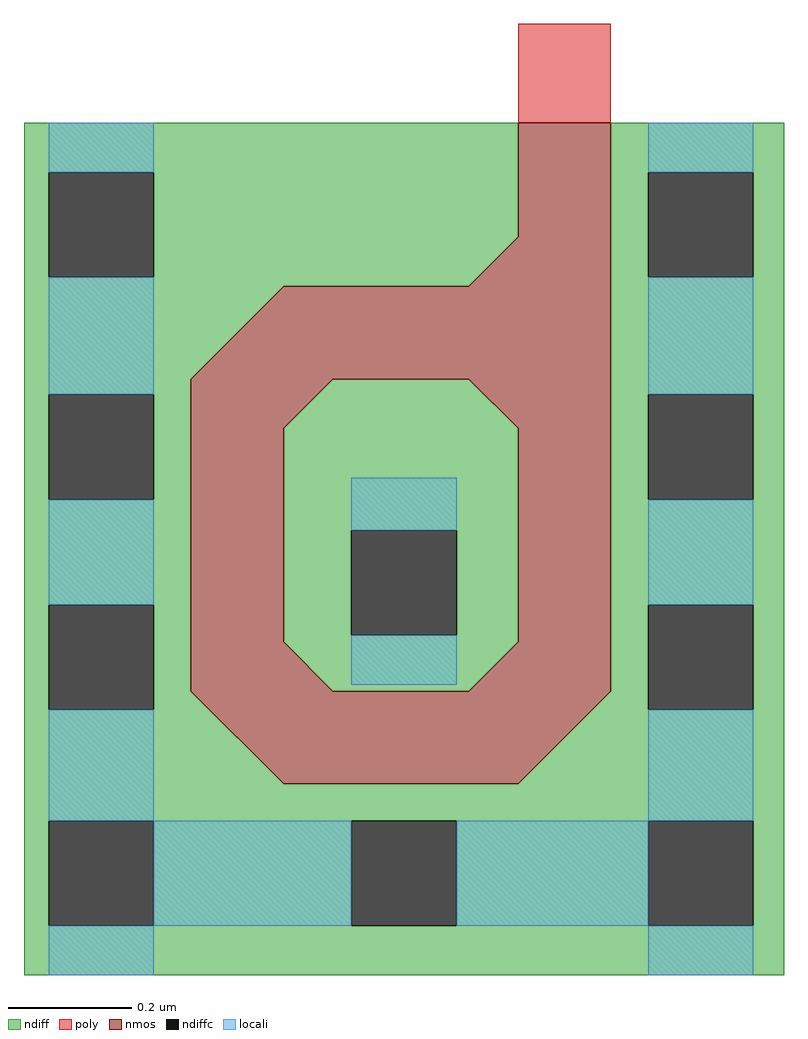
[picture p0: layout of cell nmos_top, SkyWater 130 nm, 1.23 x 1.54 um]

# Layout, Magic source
magic
tech sky130A
magscale 1 2
<< nmos >>
tri 144 223 160 239 se
rect 160 223 190 276
tri 54 193 84 223 se
rect 84 193 190 223
rect 54 92 84 193
tri 84 177 100 193 nw
tri 144 177 160 193 ne
tri 84 92 100 108 sw
tri 144 92 160 108 se
rect 160 92 190 193
tri 54 62 84 92 ne
rect 84 62 160 92
tri 160 62 190 92 nw
<< ndiff >>
rect 0 260 160 276
rect 0 226 8 260
rect 42 239 160 260
rect 42 226 144 239
rect 0 223 144 226
tri 144 223 160 239 nw
rect 190 260 246 276
rect 190 226 202 260
rect 236 226 246 260
rect 0 188 54 223
tri 54 193 84 223 nw
rect 0 154 8 188
rect 42 154 54 188
rect 0 120 54 154
rect 0 86 8 120
rect 42 86 54 120
tri 84 177 100 193 se
rect 100 177 144 193
tri 144 177 160 193 sw
rect 84 144 160 177
rect 84 110 106 144
rect 140 110 160 144
rect 84 108 160 110
tri 84 92 100 108 ne
rect 100 92 144 108
tri 144 92 160 108 nw
rect 190 188 246 226
rect 190 154 202 188
rect 236 154 246 188
rect 190 120 246 154
rect 0 62 54 86
tri 54 62 84 92 sw
tri 160 62 190 92 se
rect 190 86 202 120
rect 236 86 246 120
rect 190 62 246 86
rect 0 50 246 62
rect 0 16 8 50
rect 42 16 106 50
rect 140 16 202 50
rect 236 16 246 50
rect 0 0 246 16
<< ndiffc >>
rect 8 226 42 260
rect 202 226 236 260
rect 8 154 42 188
rect 8 86 42 120
rect 106 110 140 144
rect 202 154 236 188
rect 202 86 236 120
rect 8 16 42 50
rect 106 16 140 50
rect 202 16 236 50
<< poly >>
rect 160 276 190 308
<< locali >>
rect 8 260 42 276
rect 8 188 42 226
rect 202 260 236 276
rect 202 188 236 226
rect 8 120 42 154
rect 106 144 140 161
rect 106 94 140 110
rect 202 120 236 154
rect 8 50 42 86
rect 202 50 236 86
rect 42 16 106 50
rect 140 16 202 50
rect 8 0 42 16
rect 202 0 236 16
<< end >>
